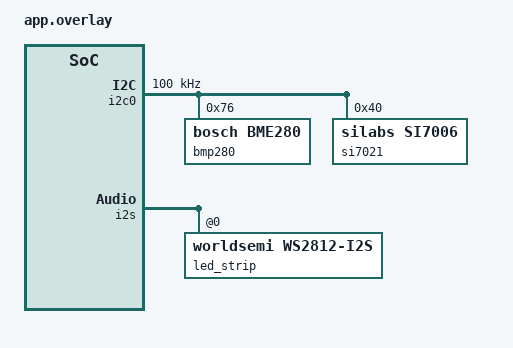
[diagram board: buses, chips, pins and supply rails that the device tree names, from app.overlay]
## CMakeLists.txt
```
# SPDX-License-Identifier: Apache-2.0

cmake_minimum_required(VERSION 3.20.0)

find_package(Zephyr REQUIRED HINTS $ENV{ZEPHYR_BASE})
project(weerstation)

target_sources(app PRIVATE src/main.cpp src/storage.cpp src/sensor_manager.cpp src/web_server.cpp src/status_led.cpp src/wifi_sta.c)

zephyr_linker_sources(SECTIONS src/sections-rom.ld)

set(web_resource_dir src/static_web_resources)
set(gen_dir ${ZEPHYR_BINARY_DIR}/include/generated/)
foreach(web_resource index.html style.css main.js chart.umd.min.js hammer.min.js chartjs-plugin-zoom.min.js)
  generate_inc_file_for_target(app
    ${web_resource_dir}/${web_resource}
    ${gen_dir}/${web_resource}.inc)
endforeach()
```

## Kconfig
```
# Copyright (c) 2023 Synopsys.
#
# SPDX-License-Identifier: Apache-2.0

config SAMPLE_DO_OUTPUT
	bool "Do print from the main thread which can be checked"

config WIFI_SSID
	string "Wi-Fi SSID"
	default "myssid"

config WIFI_PSK
	string "Wi-Fi password"
	default "mypassword"

source "Kconfig.zephyr"
```

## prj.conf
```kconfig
CONFIG_CPP=y
CONFIG_BME280=y
# forced mode, so when a brownout happens the sensor recovers before measuring
CONFIG_BME280_MODE_FORCED=y
CONFIG_SI7006=y
CONFIG_I2C=y
CONFIG_SENSOR=y

CONFIG_FLASH=y
CONFIG_FLASH_MAP=y
CONFIG_FCB=y
CONFIG_REQUIRES_FULL_LIBCPP=y
CONFIG_PICOLIBC_IO_FLOAT=y
# Without this, printk("%f") prints the literal "%f".
CONFIG_CBPRINTF_FP_SUPPORT=y

CONFIG_STACK_SENTINEL=y

# main() starts the HTTP server, which sets up a socket and a thread, on top of
# the usual 1 kB.
CONFIG_MAIN_STACK_SIZE=2048

# WiFi
CONFIG_WIFI=y
CONFIG_NETWORKING=y
CONFIG_NET_IPV4=y
CONFIG_NET_DHCPV4=y
# The station is IPv4 only; with IPv6 on, getaddrinfo() can hand SNTP a v6
# address that fails with ENETUNREACH.
CONFIG_NET_IPV6=n
CONFIG_ESP32_WIFI_STA_RECONNECT=y
CONFIG_WIFI_SSID="Arduino"
CONFIG_WIFI_PSK="Arduino123"

# SNTP. sntp_simple() resolves the hostname with getaddrinfo(), so a resolver
# is needed, and it takes the DNS server the lease advertises (option 6).
CONFIG_SNTP=y
CONFIG_DNS_RESOLVER=y
CONFIG_NET_DHCPV4_OPTION_DNS_ADDRESS=y
CONFIG_DNS_RESOLVER_MAX_SERVERS=1

# CONFIG_DNS_RESOLVER enables DNS_SOCKET_DISPATCHER, which allocates an eventfd.
# The HTTP server allocates one too, and ZVFS_EVENTFD_MAX defaults to 1, so the
# server fails to initialise and silently restart-loops with nothing on port 80.
CONFIG_ZVFS_EVENTFD_MAX=2

# Web server for src/static_web_resources/
CONFIG_HTTP_SERVER=y
CONFIG_NET_TCP=y
# Only HTTP/1.1: browsers use HTTP/1.1 on plain HTTP and HTTP/2 costs flash.
CONFIG_HTTP_SERVER_VERSION_2=n
# browser uses multiple connections 
CONFIG_HTTP_SERVER_MAX_CLIENTS=6
# A context per HTTP client (6), plus the listening socket, the DNS resolver
# socket and the SNTP socket. With 10 the SNTP socket() call fails with -ENOENT
# whenever the dashboard is connected, so the clock only ever synced on boots
# where it got a socket before the browser did. 152 bytes per context.
CONFIG_NET_MAX_CONTEXTS=16
# The server polls its listening socket plus every client, five entries.
CONFIG_ZVFS_POLL_MAX=10
CONFIG_LED_STRIP=y
```

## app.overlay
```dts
#include <zephyr/dt-bindings/led/led.h>

/ {
    chosen {};

    aliases {
        sensortp = &bmp280;
        sensorth = &si7021;
        led-strip = &led_strip;
    };
};

&i2c0 {
    status = "okay";
    clock-frequency = <I2C_BITRATE_STANDARD>;

    bmp280: bmp280@76 {
        compatible = "bosch,bme280";
        reg = <0x76>;
        status = "okay";
    };

    si7021: si7021@40 {
        compatible = "silabs,si7006";
        reg = <0x40>;
        status = "okay";
    };
};

/* LED strip */
&i2s_default {
    group1 {
        pinmux = <I2S_O_SD_GPIO8>;
    };
};

i2s_led: &i2s {
    status = "okay";

    dmas = <&dma 3>;
    dma-names = "tx";

    led_strip: ws2812@0 {
        compatible = "worldsemi,ws2812-i2s";
        reg = <0>;
        chain-length = <1>;
        color-mapping = <LED_COLOR_ID_GREEN
                         LED_COLOR_ID_RED
                         LED_COLOR_ID_BLUE>;
        reset-delay = <500>;
    };
};

&dma {
    status = "okay";
};
```

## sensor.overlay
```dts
/ {
	chosen {};

	aliases {
		sensortp = &bmp280;
		sensorth = &si7021;
	};
};

&i2c0 {
	status = "okay";
	clock-frequency = <I2C_BITRATE_STANDARD>;

	bmp280: bmp280@76 {
		compatible = "bosch,bme280";
		reg = <0x76>;
		status = "okay";
	};

	si7021: si7021@40 {
		compatible = "silabs,si7006";
		reg = <0x40>;
		status = "okay";
	};
};
```

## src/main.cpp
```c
#include <string.h>
#include <vector>
#include <zephyr/kernel.h>
#include <zephyr/net/net_event.h>
#include <zephyr/net/net_if.h>
#include <zephyr/net/net_mgmt.h>
#include <zephyr/net/sntp.h>
#include <zephyr/sys/clock.h>
#include <time.h>
#include "storage.h"
#include "sensor_manager.h"
#include "wifi_sta.h"
#include "web_server.h"
#include "status_led.h"
#include <zephyr/sys/clock.h>


//ntp servers
static const char *const timeServers[] = {
	"nl.pool.ntp.org",
	"pool.ntp.org",
};
#define CLOCK_SYNC_QUERY_TIMEOUT_MS 5000
#define CLOCK_SYNC_RETRY_DELAY_MS 30000
// The clock is derived from uptime and drifts, so refresh it now and then
// instead of trusting one sync for the whole uptime.
#define CLOCK_RESYNC_INTERVAL_SEC (6 * 60 * 60)


static void log_ip_address(void)
{
	static char shown[NET_IPV4_ADDR_LEN];
	struct net_in_addr *addr =
		net_if_ipv4_get_global_addr(net_if_get_default(), NET_ADDR_PREFERRED);
	char buf[NET_IPV4_ADDR_LEN];

	if (addr == NULL || net_addr_ntop(AF_INET, addr, buf, sizeof(buf)) == NULL) {
		return;
	}

	if (strcmp(shown, buf) != 0) {
		printk("IP address: %s\n", buf);
		strcpy(shown, buf);
	}
}

static void sync_clock_thread(void *, void *, void *)
{
	struct sntp_time server_time;
	size_t server = 0;

	while (true)
	{
		// Retry after the delay, but wake up early when a late hotspot hands
		// out a lease so the samples get absolute timestamps sooner.
		net_mgmt_event_wait(NET_EVENT_IPV4_DHCP_BOUND, NULL, NULL, NULL, NULL,
				    K_MSEC(CLOCK_SYNC_RETRY_DELAY_MS));
		log_ip_address();

		int rc = sntp_simple(timeServers[server], CLOCK_SYNC_QUERY_TIMEOUT_MS,
				     &server_time);
		if (rc == 0)
		{
			struct timespec time = {
				.tv_sec = (time_t)server_time.seconds,
				.tv_nsec = (long)(((uint64_t)server_time.fraction * 1000000000ULL) >> 32),
			};
			int set_rc = sys_clock_settime(SYS_CLOCK_REALTIME, &time);

			if (set_rc == 0)
			{
				printk("Clock synced from %s\n", timeServers[server]);
				status_set_time_synced(true);
				server = 0;
				k_sleep(K_SECONDS(CLOCK_RESYNC_INTERVAL_SEC));
				continue;
			}

			printk("sys_clock_settime failed (%d)\n", set_rc);
		}
		else
		{
			printk("Clock sync with %s failed (%d)\n", timeServers[server], rc);
		}
		server = (server + 1) % ARRAY_SIZE(timeServers);
	}
}

//sntp_simple resolves a hostname, so the stack needs resolver room
K_THREAD_STACK_DEFINE(clock_sync_stack, 3072);
static struct k_thread clock_sync_thread_data;

static int64_t ms_to_next_minute(void)
{
	struct timespec ts;
	sys_clock_gettime(SYS_CLOCK_REALTIME, &ts);
	int64_t ms = (ts.tv_sec % 60) * 1000 + ts.tv_nsec / 1000000;
	return ms == 0 ? 0 : 60000 - ms;
}

int main(void)
{
	SensorManager sensorManager;
	static Storage storage;
	WebServer webServer;

	wifi_sta_connect();
	int rc = webServer.start(&storage);
	bool ok = sensorManager.is_ready() && rc == 0;
	status_set_station(ok ? STATION_SERVING : STATION_ERROR);

	//sync runs in the background; samples are flagged relative until it succeeds
	k_thread_create(&clock_sync_thread_data, clock_sync_stack,
			K_THREAD_STACK_SIZEOF(clock_sync_stack),
			sync_clock_thread, NULL, NULL, NULL, 7, 0, K_NO_WAIT);

	static struct k_timer ticker;
	k_timer_init(&ticker, NULL, NULL);
	k_timer_start(&ticker, K_MSEC(ms_to_next_minute()), K_SECONDS(60));
	while (true)
	{
		k_timer_status_sync(&ticker);
		measurements m = sensorManager.get_measurements();
		ok = storage.write_storage(&m) == 0 && sensorManager.is_ready();
		status_set_station(ok ? STATION_SERVING : STATION_ERROR);
	}
	return 0;
}
```

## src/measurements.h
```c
#pragma once

#include <stdint.h>

struct measurements
{
    float temperature;
    float pressure;
    float humidity;
    //1 = seconds since boot, 0 = unix time; fits the padding so sizeof stays 24
    uint8_t relative;
    //unix time, or seconds since boot when relative is set
    uint64_t timestamp;
};

static_assert(sizeof(measurements) == 24,
              "the relative flag must stay inside the existing padding");
```

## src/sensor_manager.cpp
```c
#include "sensor_manager.h"
#include <zephyr/kernel.h>
#include <zephyr/drivers/sensor.h>
#include <zephyr/device.h>
#include <zephyr/sys/clock.h>
#include <time.h>

const struct device *const sensortp = DEVICE_DT_GET(DT_ALIAS(sensortp));
const struct device *const sensorth = DEVICE_DT_GET(DT_ALIAS(sensorth));

SensorManager::SensorManager()
{
    ready = device_is_ready(sensortp) && device_is_ready(sensorth);

    if (!ready)
    {
        printk("Sensor device not ready\n");
    }
}

void SensorManager::fetch_sample(const struct device *sensor)
{
    int rc;
    rc = sensor_sample_fetch(sensor);

    if (rc)
    {
        printk("sensor_sample_fetch failed: %d\n", rc);
    }
}

float SensorManager::get_channel(const struct device *sensor, enum sensor_channel channel)
{
    struct sensor_value value;
    int rc = sensor_channel_get(sensor, channel, &value);

    if (rc)
    {
        printk("sensor_channel_get failed: %d\n", rc);
    }

    return sensor_value_to_float(&value);
}

// Before SNTP runs, the realtime offset is zero, so this is just uptime.
static uint64_t clock_seconds(bool *relative)
{
    struct timespec offset;
    struct timespec now;

    sys_clock_getrtoffset(&offset);
    *relative = offset.tv_sec == 0 && offset.tv_nsec == 0;

    if (sys_clock_gettime(SYS_CLOCK_REALTIME, &now) != 0)
    {
        *relative = true;
        return 0;
    }

    return (uint64_t)now.tv_sec;
}

measurements SensorManager::get_measurements()
{
    measurements m;

    fetch_sample(sensortp);
    fetch_sample(sensorth);

    m.pressure = get_channel(sensortp, SENSOR_CHAN_PRESS);
    m.humidity = get_channel(sensorth, SENSOR_CHAN_HUMIDITY);

    // BMP280 temperature is not used because it is inaccurate.
    m.temperature = get_channel(sensorth, SENSOR_CHAN_AMBIENT_TEMP);

    bool relative;
    m.timestamp = clock_seconds(&relative);
    m.relative = relative ? 1 : 0;

    return m;
}
```

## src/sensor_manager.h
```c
#pragma once

#include <zephyr/device.h>
#include <zephyr/drivers/sensor.h>
#include "measurements.h"

extern const struct device *const sensortp;
extern const struct device *const sensorth;

class SensorManager
{
public:
    SensorManager();

    void fetch_sample(const struct device *sensor);
    float get_channel(const struct device *sensor, enum sensor_channel channel);
    measurements get_measurements();

    bool is_ready() const { return ready; }

private:
    bool ready = true;
};
```

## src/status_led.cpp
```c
#include "status_led.h"

#include <string.h>
#include <zephyr/drivers/led_strip.h>
#include <zephyr/kernel.h>

#define BLINK_MS 500

static const struct device *const strip = DEVICE_DT_GET(DT_ALIAS(led_strip));
static atomic_t wifi_state = ATOMIC_INIT(WIFI_IDLE);
static atomic_t station_state = ATOMIC_INIT(STATION_BOOT);
static atomic_t time_synced = ATOMIC_INIT(0);

void status_set_wifi(enum wifi_state state)
{
    // Latch the error 
    if (state == WIFI_DOWN && atomic_get(&wifi_state) == WIFI_ERROR) {
        return;
    }
    atomic_set(&wifi_state, state);
}

void status_set_station(enum station_state state)
{
    atomic_set(&station_state, state);
}

void status_set_time_synced(bool synced)
{
    atomic_set(&time_synced, synced ? 1 : 0);
}

static struct led_rgb rgb(uint8_t r, uint8_t g, uint8_t b)
{
    struct led_rgb c = {};

    c.r = r;
    c.g = g;
    c.b = b;
    return c;
}

static struct led_rgb wanted(void)
{
    int station = (int)atomic_get(&station_state);
    int wifi = (int)atomic_get(&wifi_state);
    bool lit = k_uptime_get() / BLINK_MS % 2 == 0;

    if (station == STATION_ERROR || wifi == WIFI_ERROR) {
        return rgb(0x30, 0, 0); //red: error 
    }
    if (wifi != WIFI_CONNECTED || !atomic_get(&time_synced)) {
        return rgb(lit ? 0x30 : 0, lit ? 0x18 : 0, 0);   //yellow blink: no link or no time sync
    }
    return rgb(0, 0x20, 0); // green: serving with a link
}

// Renders four times per blink period repainting only on change to avoid needless I2S transfers. 
static void status_led_thread(void *, void *, void *)
{
    const bool ready = device_is_ready(strip);
    static struct led_rgb shown;
    struct led_rgb next;

    if (!ready) {
        printk("LED strip not ready\n");
    }
    while (true) {
        next = wanted();
        if (ready && memcmp(&next, &shown, sizeof(next)) != 0) {
            led_strip_update_rgb(strip, &next, 1);
            shown = next;
        }
        k_sleep(K_MSEC(BLINK_MS / 4));
    }
}

// Start the status LED thread with a higher priority than the main thread so status is always shown
K_THREAD_DEFINE(status_led_tid, 1024, status_led_thread, NULL, NULL, NULL, 7, 0, 0);
```

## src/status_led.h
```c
#pragma once
#include <stdbool.h>

#ifdef __cplusplus
extern "C" {
#endif

enum wifi_state {
    WIFI_IDLE,
    WIFI_CONNECTING,
    WIFI_CONNECTED,
    WIFI_DOWN,
    WIFI_ERROR,
};

enum station_state {
    STATION_BOOT,
    STATION_SERVING,
    STATION_ERROR,
};

void status_set_wifi(enum wifi_state state);
void status_set_station(enum station_state state);
void status_set_time_synced(bool synced);

#ifdef __cplusplus
}
#endif
```

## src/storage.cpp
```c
#include "storage.h"
#include <zephyr/kernel.h>

Storage::Storage()
{
	k_mutex_init(&lock);

	int rc;
	for (unsigned int i = 0; i < N_SECTORS; i++)
	{
		sectors[i].fs_off = i * SECTOR_SZ; //(ptrdiff_t)(i * SECTOR_SZ);
		sectors[i].fs_size = SECTOR_SZ;
	}

	fcb.f_magic = 0x57a17e01;
	fcb.f_version = 1;
	fcb.f_sectors = sectors;
	fcb.f_sector_cnt = N_SECTORS;
	fcb.f_scratch_cnt = 1; // maybe not needed.

	rc = fcb_init(FCB_AREA, &fcb);
	if (rc)
	{
		printk("fcb_init failed: %d\n", rc);
	}
}

Storage::~Storage()
{
	if (fcb.fap != NULL)
	{
		flash_area_close(fcb.fap);
		fcb.fap = NULL;
	}
}

/* Shared by the main loop and the web server thread. */
int Storage::write_storage(measurements *m)
{
	k_mutex_lock(&lock, K_FOREVER);
	int rc = write_locked(m);

	k_mutex_unlock(&lock);

	return rc;
}

int Storage::write_locked(measurements *m)
{
	struct fcb_entry loc;
	int rc;
	rc = fcb_append(&fcb, sizeof(*m), &loc);
	if (rc)
	{
		fcb_rotate(&fcb);
		rc = fcb_append(&fcb, sizeof(*m), &loc);
	}
	if (rc)
	{
		printk("fcb_append failed: %d\n", rc);
		return rc;
	}

	rc = flash_area_write(fcb.fap, FCB_ENTRY_FA_DATA_OFF(loc),
						  (const uint8_t *)m, sizeof(*m));
	if (rc)
	{
		printk("flash_area_write failed: %d\n", rc);
		return rc;
	}
	rc = fcb_append_finish(&fcb, &loc);
	cache[cache_head] = loc;
	cache_head = (cache_head + 1) % CACHE_N;
	if (cache_count < CACHE_N)
	{
		cache_count++;
	}
	return rc;
}

int Storage::read_last_n(std::vector<measurements> &measurementsVec, int n)
{
	k_mutex_lock(&lock, K_FOREVER);
	int rc = read_last_n_locked(measurementsVec, n);

	k_mutex_unlock(&lock);

	return rc;
}

int Storage::read_last_n_locked(std::vector<measurements> &measurementsVec, int n)
{
	if (n <= 0)
	{
		return -EINVAL;
	}
	if (n <= cache_count)
	{
		// read from cache
		measurementsVec.reserve(measurementsVec.size() + n);
		int start = (cache_head - n + CACHE_N) % CACHE_N;
		for (int i = 0; i < n; i++)
		{
			struct fcb_entry loc = cache[(start + i) % CACHE_N];
			measurements m;
			int rc = flash_area_read(fcb.fap, FCB_ENTRY_FA_DATA_OFF(loc), &m, sizeof(m));
			if (rc)
			{
				printk("flash_area_read failed: %d\n", rc);
				return rc;
			}
			measurementsVec.push_back(m);
		}
		return 0;
	}
	else
	{
		struct fcb_entry loc = {0};

		if (n <= UINT8_MAX)
		{
			int rc = fcb_offset_last_n(&fcb, (uint8_t)n, &loc);
			if (rc)
			{
				return rc;
			}
		}
		else
		{
			// count the items in the fcb
			struct fcb_entry scan = {0};
			int total = 0;
			while (fcb_getnext(&fcb, &scan) == 0)
			{
				total++;
			}

			if (total == 0)
			{
				return -ENOENT;
			}

			if (total < n)
			{
				n = total;
			}
			int skip = total - n;

			// skip first items
			for (int i = 0; i < skip + 1; i++)
			{
				if (fcb_getnext(&fcb, &loc) != 0)
				{
					return -ENOENT;
				}
			}
		}
		measurementsVec.reserve(measurementsVec.size() + n);

		// fill the cache so next time is faster
		int collected = 0;

		// read the last n items
		for (int i = 0; i < n; i++)
		{
			measurements m;
			int rc = flash_area_read(fcb.fap, FCB_ENTRY_FA_DATA_OFF(loc), &m, sizeof(m));
			if (rc)
			{
				printk("flash_area_read failed: %d\n", rc);
				cache_count = 0;
				return rc;
			}
			measurementsVec.push_back(m);

			cache[collected % CACHE_N] = loc;
			collected++;

			if (fcb_getnext(&fcb, &loc))
			{
				// Reached the newest entry.
				break;
			}
		}

		cache_count = MIN(collected, CACHE_N);
		cache_head = collected % CACHE_N;

		return 0;
	}
}
```

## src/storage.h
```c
#pragma once
#include "measurements.h"
#include <zephyr/kernel.h>
#include <zephyr/fs/fcb.h>
#include <zephyr/storage/flash_map.h>
#include <zephyr/drivers/flash.h>
#include <vector>

#define SECTOR_SZ 4096u
#define N_SECTORS 48u
#define FCB_AREA PARTITION_ID(storage_partition)
// one hour cached
#define CACHE_N 61

class Storage
{
public:
    Storage();
    ~Storage();
    int write_storage(measurements* m);
    int read_last_n(std::vector<measurements>& measurementsVec, int n);

private:
    int write_locked(measurements* m);
    int read_last_n_locked(std::vector<measurements>& measurementsVec, int n);

    struct flash_sector sectors[N_SECTORS];
    struct fcb fcb;
    struct fcb_entry cache[CACHE_N]; 
    int cache_count = 0;
    int cache_head = 0; // next index to write to, oldest entry if cache is full
    struct k_mutex lock;
};
```

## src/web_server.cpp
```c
#include "web_server.h"
#include "storage.h"
#include <errno.h>
#include <stdio.h>
#include <stdlib.h>
#include <string.h>
#include <zephyr/kernel.h>
#include <zephyr/net/http/service.h>

static const uint8_t indexHtmlData[] = {
#include "index.html.inc"
};

static const uint8_t styleCssData[] = {
#include "style.css.inc"
};

static const uint8_t mainJsData[] = {
#include "main.js.inc"
};

static const uint8_t chartJsData[] = {
#include "chart.umd.min.js.inc"
};

static const uint8_t hammerJsData[] = {
#include "hammer.min.js.inc"
};

static const uint8_t zoomPluginJsData[] = {
#include "chartjs-plugin-zoom.min.js.inc"
};

static struct http_resource_detail_static indexHtmlDetail = {
	.common = {
		.bitmask_of_supported_http_methods = BIT(HTTP_GET),
		.type = HTTP_RESOURCE_TYPE_STATIC,
		.content_type = "text/html",
	},
	.static_data = indexHtmlData,
	.static_data_len = sizeof(indexHtmlData),
};

static struct http_resource_detail_static styleCssDetail = {
	.common = {
		.bitmask_of_supported_http_methods = BIT(HTTP_GET),
		.type = HTTP_RESOURCE_TYPE_STATIC,
		.content_type = "text/css",
	},
	.static_data = styleCssData,
	.static_data_len = sizeof(styleCssData),
};

static struct http_resource_detail_static mainJsDetail = {
	.common = {
		.bitmask_of_supported_http_methods = BIT(HTTP_GET),
		.type = HTTP_RESOURCE_TYPE_STATIC,
		.content_type = "text/javascript",
	},
	.static_data = mainJsData,
	.static_data_len = sizeof(mainJsData),
};

static struct http_resource_detail_static chartJsDetail = {
	.common = {
		.bitmask_of_supported_http_methods = BIT(HTTP_GET),
		.type = HTTP_RESOURCE_TYPE_STATIC,
		.content_type = "text/javascript",
	},
	.static_data = chartJsData,
	.static_data_len = sizeof(chartJsData),
};

static struct http_resource_detail_static hammerJsDetail = {
	.common = {
		.bitmask_of_supported_http_methods = BIT(HTTP_GET),
		.type = HTTP_RESOURCE_TYPE_STATIC,
		.content_type = "text/javascript",
	},
	.static_data = hammerJsData,
	.static_data_len = sizeof(hammerJsData),
};

static struct http_resource_detail_static zoomPluginJsDetail = {
	.common = {
		.bitmask_of_supported_http_methods = BIT(HTTP_GET),
		.type = HTTP_RESOURCE_TYPE_STATIC,
		.content_type = "text/javascript",
	},
	.static_data = zoomPluginJsData,
	.static_data_len = sizeof(zoomPluginJsData),
};

static uint16_t web_server_port = 80;

HTTP_SERVICE_DEFINE(weerstation_web, NULL, &web_server_port,
		    CONFIG_HTTP_SERVER_MAX_CLIENTS, 4, NULL, NULL, NULL);

/* Browsers ask for "/", the file itself is "/index.html". */
HTTP_RESOURCE_DEFINE(web_index_root, weerstation_web, "/", &indexHtmlDetail);
HTTP_RESOURCE_DEFINE(web_index_file, weerstation_web, "/index.html",
		     &indexHtmlDetail);
HTTP_RESOURCE_DEFINE(web_style_css, weerstation_web, "/style.css",
		     &styleCssDetail);
HTTP_RESOURCE_DEFINE(web_main_js, weerstation_web, "/main.js", &mainJsDetail);
HTTP_RESOURCE_DEFINE(web_chart_js, weerstation_web, "/chart.umd.min.js",
		     &chartJsDetail);
HTTP_RESOURCE_DEFINE(web_hammer_js, weerstation_web, "/hammer.min.js",
		     &hammerJsDetail);
HTTP_RESOURCE_DEFINE(web_zoom_plugin_js, weerstation_web,
		     "/chartjs-plugin-zoom.min.js", &zoomPluginJsDetail);


#define READ_DEFAULT_N 10
/* The page's input max; the read vector takes ~17 kB of the ~55 kB heap. */
#define READ_MAX_N 1440

#define CHUNK_RESERVE 256

static Storage *storage;
static std::vector<measurements> read_result;
static size_t read_index;
static bool read_active;
static char chunk_buf[2048];

static int read_count_param(const uint8_t *data, size_t len)
{
	const char *param;
	int n;

	if (len == 0) {
		return READ_DEFAULT_N;
	}

	param = strstr((const char *)data, "n=");
	if (param == NULL) {
		return READ_DEFAULT_N;
	}

	n = atoi(param + 2);
	if (n <= 0) {
		return READ_DEFAULT_N;
	}

	return MIN(n, READ_MAX_N);
}

static int measurements_handler(struct http_client_ctx *client,
				enum http_transaction_status status,
				const struct http_request_ctx *request_ctx,
				struct http_response_ctx *response_ctx,
				void *user_data)
{
	size_t pos = 0;
	bool done;

	if (status == HTTP_SERVER_TRANSACTION_ABORTED) {
		read_active = false;
		return 0;
	}

	if (status == HTTP_SERVER_TRANSACTION_COMPLETE) {
		read_result.clear();
		read_active = false;
		return 0;
	}

	if (status != HTTP_SERVER_REQUEST_DATA_FINAL) {
		return 0;
	}

	if (!read_active) {
		read_result.clear();
		int rc = storage->read_last_n(read_result,
					      read_count_param(request_ctx->data,
							       request_ctx->data_len));

		if (rc < 0 && rc != -ENOENT) {
			response_ctx->status = HTTP_500_INTERNAL_SERVER_ERROR;
			response_ctx->final_chunk = true;
			return 0;
		}

		read_index = 0;
		read_active = true;
	}

	if (read_index == 0) {
		chunk_buf[pos++] = '[';
	}

	while (read_index < read_result.size() &&
	       sizeof(chunk_buf) - pos >= CHUNK_RESERVE) {
		const measurements &m = read_result[read_index];

		pos += snprintf(chunk_buf + pos, sizeof(chunk_buf) - pos,
				"%s{\"temperature\":%.2f,\"pressure\":%.2f,\"humidity\":%.2f,"
				"\"relative\":%u,\"timestamp\":%llu}",
				read_index > 0 ? "," : "",
				(double)m.temperature, (double)m.pressure,
				(double)m.humidity, (unsigned int)m.relative,
				(unsigned long long)m.timestamp);
		read_index++;
	}

	done = read_index >= read_result.size();
	if (done) {
		chunk_buf[pos++] = ']';
	}

	chunk_buf[pos] = '\0';

	response_ctx->body = (uint8_t *)chunk_buf;
	response_ctx->body_len = pos;
	response_ctx->final_chunk = done;
	read_active = !done;

	return 0;
}

static struct http_resource_detail_dynamic measurements_detail = {
	.common = {
		.bitmask_of_supported_http_methods = BIT(HTTP_GET),
		.type = HTTP_RESOURCE_TYPE_DYNAMIC,
		.content_type = "application/json",
	},
	.cb = measurements_handler,
	.user_data = NULL,
};

HTTP_RESOURCE_DEFINE(api_measurements, weerstation_web, "/api/measurements",
		     &measurements_detail);

WebServer::~WebServer()
{
	stop();
}

int WebServer::start(Storage *source)
{
	int rc;

	if (running)
	{
		return 0;
	}

	storage = source;

	rc = http_server_start();
	if (rc == 0)
	{
		running = true;
	}
	printk("HTTP server %s on port %u\n", rc == 0 ? "listening" : "failed",
		   web_server_port);

	return rc;
}

int WebServer::stop()
{
	int rc;

	if (!running)
	{
		return 0;
	}
	rc = http_server_stop();
	if (rc == 0)
	{
		running = false;
	}
	return rc;
}
```

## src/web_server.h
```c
#pragma once

class Storage;

class WebServer
{
public:
	~WebServer();
	int start(Storage *source);
	int stop();

private:
	bool running = false;
};
```

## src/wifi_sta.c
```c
#include "wifi_sta.h"
#include "status_led.h"

#include <zephyr/kernel.h>
#include <zephyr/sys/util.h>
#include <zephyr/net/net_if.h>
#include <zephyr/net/wifi_mgmt.h>

#define HAS_PSK (sizeof(CONFIG_WIFI_PSK) > 1)

static struct net_mgmt_event_callback wifi_cb;

static void wifi_event(struct net_mgmt_event_callback *cb, uint64_t event,
                       struct net_if *iface)
{
    const struct wifi_status *status = cb->info;

    ARG_UNUSED(iface);

    if (event == NET_EVENT_WIFI_CONNECT_RESULT) {
        status_set_wifi(status != NULL &&
                        status->conn_status == WIFI_STATUS_CONN_SUCCESS
                        ? WIFI_CONNECTED
                        : WIFI_ERROR);
    } else if (event == NET_EVENT_WIFI_DISCONNECT_RESULT) {
        status_set_wifi(WIFI_DOWN);
    }
}

static void disable_power_save(struct net_if *iface)
{
    struct wifi_ps_params params = {
        .enabled = WIFI_PS_DISABLED,
        .type = WIFI_PS_PARAM_STATE,
    };
    int rc = net_mgmt(NET_REQUEST_WIFI_PS, iface, &params, sizeof(params));

    printk("Wi-Fi power save %s (%d)\n", rc == 0 ? "disabled" : "not disabled", rc);
}

int wifi_sta_connect(void)
{
    struct net_if *iface = net_if_get_wifi_sta();

    struct wifi_connect_req_params params = {
        .ssid = (const uint8_t *)CONFIG_WIFI_SSID,
        .ssid_length = sizeof(CONFIG_WIFI_SSID) - 1,
        .psk = HAS_PSK ? (const uint8_t *)CONFIG_WIFI_PSK : NULL,
        .psk_length = HAS_PSK ? sizeof(CONFIG_WIFI_PSK) - 1 : 0,
        .security = HAS_PSK ? WIFI_SECURITY_TYPE_PSK
                            : WIFI_SECURITY_TYPE_NONE,
        .channel = WIFI_CHANNEL_ANY,
        .band = WIFI_FREQ_BAND_2_4_GHZ,
    };
    int rc;

    if (iface == NULL)
    {
        printk("no Wi-Fi station interface\n");
        status_set_wifi(WIFI_ERROR);
        return -1;
    }

    if (wifi_cb.handler == NULL)
    {
        net_mgmt_init_event_callback(&wifi_cb, wifi_event,
                         NET_EVENT_WIFI_CONNECT_RESULT |
                         NET_EVENT_WIFI_DISCONNECT_RESULT);
        net_mgmt_add_event_callback(&wifi_cb);
    }

    status_set_wifi(WIFI_CONNECTING);
    rc = net_mgmt(NET_REQUEST_WIFI_CONNECT, iface, &params, sizeof(params));
    printk("Wi-Fi connect request -> %d\n", rc);

    if (rc == 0)
    {
        disable_power_save(iface);
    }
    else
    {
        status_set_wifi(WIFI_ERROR);
    }
    return rc;
}
```

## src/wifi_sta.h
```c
#pragma once

#ifdef __cplusplus
extern "C" {
#endif

int wifi_sta_connect(void);

#ifdef __cplusplus
}
#endif
```
